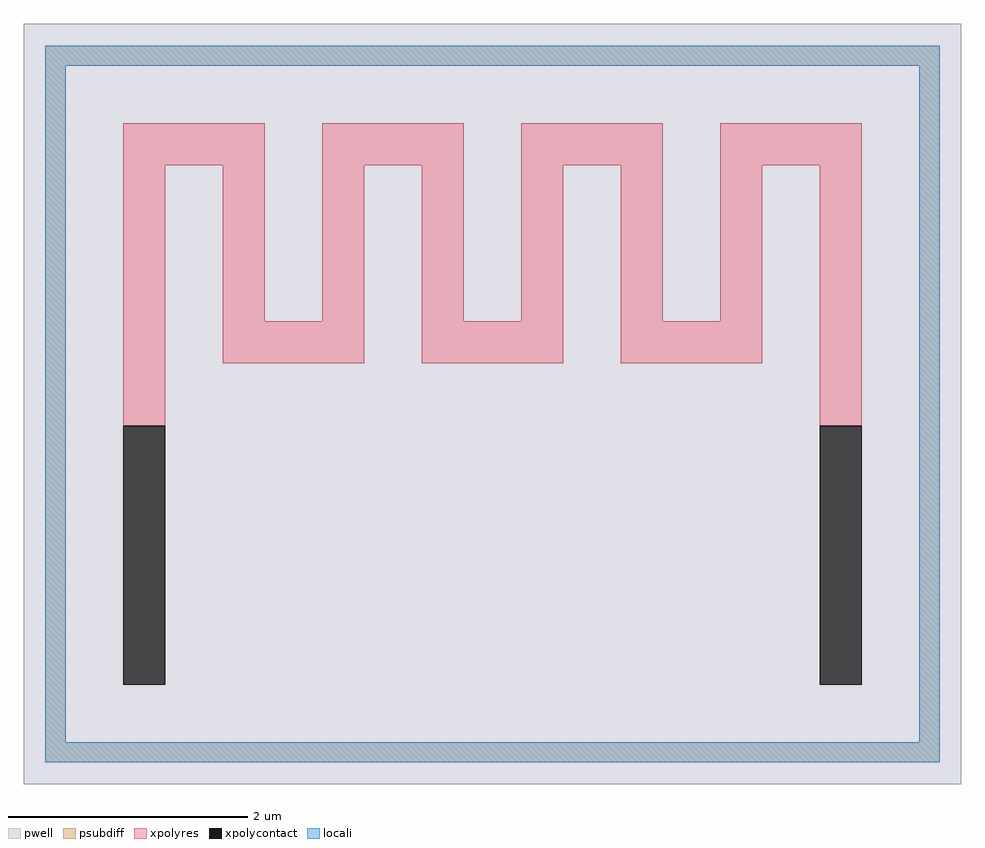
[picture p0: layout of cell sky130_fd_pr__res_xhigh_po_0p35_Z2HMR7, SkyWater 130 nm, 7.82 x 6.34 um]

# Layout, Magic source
magic
tech sky130A
<< pwell >>
rect -391 -317 391 317
<< psubdiff >>
rect -373 282 373 299
rect -373 -282 -356 282
rect 356 -282 373 282
rect -373 -299 373 -282
<< xpolycontact >>
rect -308 -234 -273 -18
rect 273 -234 308 -18
<< xpolyres >>
rect -308 199 -190 234
rect -308 -18 -273 199
rect -225 69 -190 199
rect -142 199 -24 234
rect -142 69 -107 199
rect -225 34 -107 69
rect -59 69 -24 199
rect 24 199 142 234
rect 24 69 59 199
rect -59 34 59 69
rect 107 69 142 199
rect 190 199 308 234
rect 190 69 225 199
rect 107 34 225 69
rect 273 -18 308 199
<< locali >>
rect -373 282 373 299
rect -373 -282 -356 282
rect 356 -282 373 282
rect -373 -299 373 -282
<< properties >>
string FIXED_BBOX -364 -290 364 290
string gencell sky130_fd_pr__res_xhigh_po_0p35
string library sky130
string parameters w 0.35 l 2.0 m 1 nx 8 wmin 0.350 lmin 0.50 rho 2000 val 106.504k dummy 0 dw 0.0 term 188.2 sterm 0.0 caplen 0 wmax 0.350 guard 1 glc 0 grc 0 gtc 0 gbc 0 compatible {sky130_fd_pr__res_xhigh_po_0p35  sky130_fd_pr__res_xhigh_po_0p69 sky130_fd_pr__res_xhigh_po_1p41  sky130_fd_pr__res_xhigh_po_2p85 sky130_fd_pr__res_xhigh_po_5p73} snake 1 full_metal 1 n_guard 0 hv_guard 0 vias 1 viagb 0 viagt 0 viagl 0 viagr 0
<< end >>
